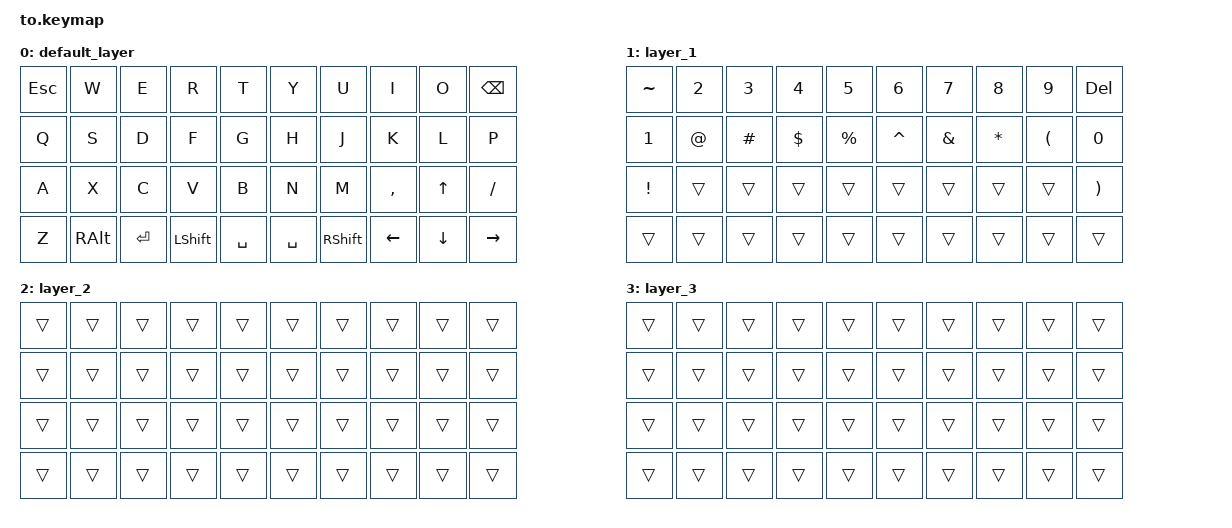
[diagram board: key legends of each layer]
/*
 * Copyright (c) 2020 The ZMK Contributors
 *
 * SPDX-License-Identifier: MIT
 */

#include <behaviors.dtsi>
#include <dt-bindings/zmk/keys.h>

#define DEF 0
#define LWR 1
#define RSE 2
#define ADJ 3

&lt { quick_tap_ms = <220>; };

&mt { quick_tap_ms = <220>; };

/ {
};

/ {
    keymap {
        compatible = "zmk,keymap";

        default_layer {
            bindings = <
&kp ESCAPE  &kp W          &kp E      &kp R           &kp T      &kp Y      &kp U            &kp I      &kp O     &kp BACKSPACE
&kp Q       &kp S          &kp D      &kp F           &kp G      &kp H      &kp J            &kp K      &kp L     &kp P
&kp A       &kp X          &kp C      &kp V           &kp B      &kp N      &kp M            &kp COMMA  &kp UP    &kp SLASH
&kp Z       &kp RIGHT_ALT  &kp ENTER  &kp LEFT_SHIFT  &kp SPACE  &kp SPACE  &kp RIGHT_SHIFT  &kp LEFT   &kp DOWN  &kp RIGHT
            >;
        };

        layer_1 {
            bindings = <
&kp TILDE        &kp N2       &kp N3    &kp N4      &kp N5       &kp N6     &kp N7         &kp N8        &kp N9                &kp DEL
&kp N1           &kp AT_SIGN  &kp HASH  &kp DOLLAR  &kp PERCENT  &kp CARET  &kp AMPERSAND  &kp ASTERISK  &kp LEFT_PARENTHESIS  &kp N0
&kp EXCLAMATION  &trans       &trans    &trans      &trans       &trans     &trans         &trans        &trans                &kp RIGHT_PARENTHESIS
&trans           &trans       &trans    &trans      &trans       &trans     &trans         &trans        &trans                &trans
            >;
        };

        layer_2 {
            bindings = <
&trans  &trans  &trans  &trans  &trans  &trans  &trans  &trans  &trans  &trans
&trans  &trans  &trans  &trans  &trans  &trans  &trans  &trans  &trans  &trans
&trans  &trans  &trans  &trans  &trans  &trans  &trans  &trans  &trans  &trans
&trans  &trans  &trans  &trans  &trans  &trans  &trans  &trans  &trans  &trans
            >;
        };

        layer_3 {
            bindings = <
&trans  &trans  &trans  &trans  &trans  &trans  &trans  &trans  &trans  &trans
&trans  &trans  &trans  &trans  &trans  &trans  &trans  &trans  &trans  &trans
&trans  &trans  &trans  &trans  &trans  &trans  &trans  &trans  &trans  &trans
&trans  &trans  &trans  &trans  &trans  &trans  &trans  &trans  &trans  &trans
            >;
        };
    };
};
